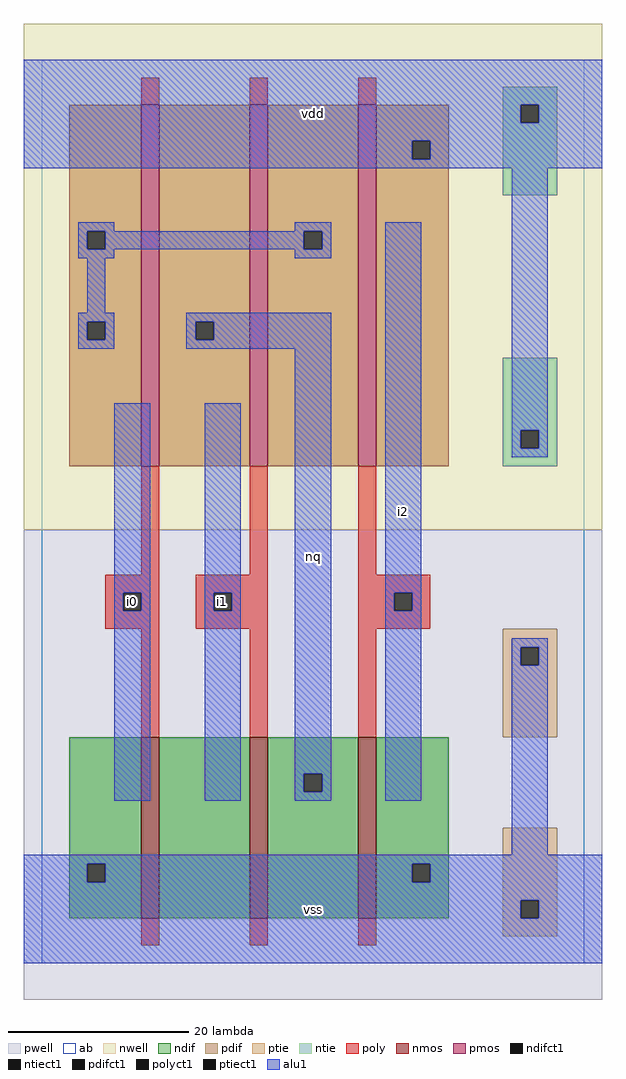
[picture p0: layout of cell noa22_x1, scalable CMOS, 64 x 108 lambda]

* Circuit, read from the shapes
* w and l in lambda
.subckt noa22_x1 i0 i1 i2 nq vdd vss
M1 n1 i0 vss vss nfet w=20 l=2
M2 nq i1 n1 vss nfet w=20 l=2
M3 vss i2 nq vss nfet w=20 l=2
M4 nq i0 n2 vdd pfet w=40 l=2
M5 n2 i1 nq vdd pfet w=40 l=2
M6 vdd i2 n2 vdd pfet w=40 l=2
.ends

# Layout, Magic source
magic
tech scmos
<< ab >>
rect 0 0 60 100
<< nwell >>
rect -2 48 62 104
<< pwell >>
rect -2 -4 62 48
<< poly >>
rect 11 95 13 98
rect 23 95 25 98
rect 35 95 37 98
rect 11 43 13 55
rect 23 43 25 55
rect 7 41 13 43
rect 7 39 9 41
rect 11 39 13 41
rect 7 37 13 39
rect 17 41 25 43
rect 17 39 19 41
rect 21 39 25 41
rect 17 37 25 39
rect 11 25 13 37
rect 23 25 25 37
rect 35 43 37 55
rect 35 41 43 43
rect 35 39 39 41
rect 41 39 43 41
rect 35 37 43 39
rect 35 25 37 37
rect 11 2 13 5
rect 23 2 25 5
rect 35 2 37 5
<< ndif >>
rect 3 11 11 25
rect 3 9 5 11
rect 7 9 11 11
rect 3 5 11 9
rect 13 5 23 25
rect 25 21 35 25
rect 25 19 29 21
rect 31 19 35 21
rect 25 5 35 19
rect 37 11 45 25
rect 37 9 41 11
rect 43 9 45 11
rect 37 5 45 9
<< pdif >>
rect 3 81 11 95
rect 3 79 5 81
rect 7 79 11 81
rect 3 71 11 79
rect 3 69 5 71
rect 7 69 11 71
rect 3 55 11 69
rect 13 71 23 95
rect 13 69 17 71
rect 19 69 23 71
rect 13 55 23 69
rect 25 81 35 95
rect 25 79 29 81
rect 31 79 35 81
rect 25 55 35 79
rect 37 91 45 95
rect 37 89 41 91
rect 43 89 45 91
rect 37 55 45 89
<< alu1 >>
rect -2 95 62 100
rect -2 93 53 95
rect 55 93 62 95
rect -2 91 62 93
rect -2 89 41 91
rect 43 89 62 91
rect -2 88 62 89
rect 4 81 8 82
rect 28 81 32 82
rect 4 79 5 81
rect 7 79 29 81
rect 31 79 32 81
rect 4 78 8 79
rect 28 78 32 79
rect 5 72 7 78
rect 4 71 8 72
rect 4 69 5 71
rect 7 69 8 71
rect 4 68 8 69
rect 16 71 32 72
rect 16 69 17 71
rect 19 69 32 71
rect 16 68 32 69
rect 8 41 12 62
rect 8 39 9 41
rect 11 39 12 41
rect 8 18 12 39
rect 18 41 22 62
rect 18 39 19 41
rect 21 39 22 41
rect 18 18 22 39
rect 28 21 32 68
rect 28 19 29 21
rect 31 19 32 21
rect 28 18 32 19
rect 38 41 42 82
rect 52 59 56 88
rect 52 57 53 59
rect 55 57 56 59
rect 52 56 56 57
rect 38 39 39 41
rect 41 39 42 41
rect 38 18 42 39
rect 52 35 56 36
rect 52 33 53 35
rect 55 33 56 35
rect 52 12 56 33
rect -2 11 62 12
rect -2 9 5 11
rect 7 9 41 11
rect 43 9 62 11
rect -2 7 62 9
rect -2 5 53 7
rect 55 5 62 7
rect -2 0 62 5
<< ptie >>
rect 51 35 57 37
rect 51 33 53 35
rect 55 33 57 35
rect 51 25 57 33
rect 51 7 57 15
rect 51 5 53 7
rect 55 5 57 7
rect 51 3 57 5
<< ntie >>
rect 51 95 57 97
rect 51 93 53 95
rect 55 93 57 95
rect 51 85 57 93
rect 51 59 57 67
rect 51 57 53 59
rect 55 57 57 59
rect 51 55 57 57
<< nmos >>
rect 11 5 13 25
rect 23 5 25 25
rect 35 5 37 25
<< pmos >>
rect 11 55 13 95
rect 23 55 25 95
rect 35 55 37 95
<< polyct1 >>
rect 9 39 11 41
rect 19 39 21 41
rect 39 39 41 41
<< ndifct1 >>
rect 5 9 7 11
rect 29 19 31 21
rect 41 9 43 11
<< ntiect1 >>
rect 53 93 55 95
rect 53 57 55 59
<< ptiect1 >>
rect 53 33 55 35
rect 53 5 55 7
<< pdifct1 >>
rect 5 79 7 81
rect 5 69 7 71
rect 17 69 19 71
rect 29 79 31 81
rect 41 89 43 91
<< labels >>
rlabel polyct1 10 40 10 40 6 i0
rlabel polyct1 20 40 20 40 6 i1
rlabel alu1 30 6 30 6 6 vss
rlabel alu1 30 45 30 45 6 nq
rlabel alu1 40 50 40 50 6 i2
rlabel alu1 30 94 30 94 6 vdd
<< end >>
